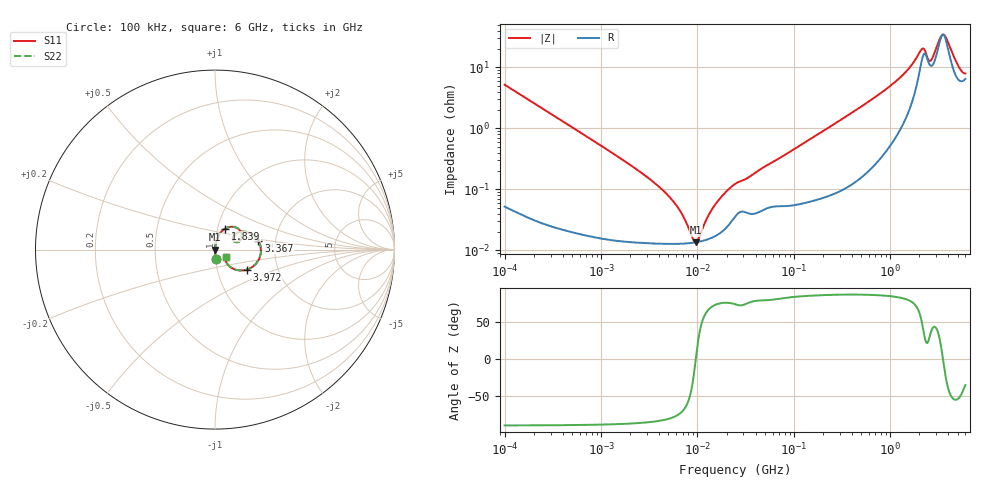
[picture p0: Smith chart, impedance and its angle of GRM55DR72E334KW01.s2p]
!Murata Part Number: GRM55DR72E334KW01
!These Parameters are Measured in Series Mode Connection
!Data Generated on Mar 30, 2021
!  o--ll--o
!Port1  Port2
!  o------o
!Operation Temp=25[degC], DC Bias Voltage=0[V]
!Freq. Start=100[kHz] Stop=6[GHz] 401[Steps]
# Hz S RI R 50
!Freq.(Hz) S11(Real) S11(Imag) S21(Real) S21(Imag) S12(Real) S12(Imag) S22(Real) S22(Imag)
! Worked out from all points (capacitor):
!   401 points, 100 kHz to 6 GHz, reference 50 ohm
!   read as one part in series: C = 306 nF near 105.7 kHz
!   lowest |Z| = 13.6 mohm at 9.615 MHz (marker M1)
!   series resonance near 9.614 MHz, so ESL is about 890 pH
!   S11 on the Smith chart (normalised r, x): 100 kHz: 1.00, -0.10; 1.839 GHz: 1.09, +0.26; 3.367 GHz: 1.63, +0.17; 3.972 GHz: 1.39, -0.32; 6 GHz: 1.13, -0.09
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100000  0.0032 -0.0516  0.9968 0.0516  0.9968 0.0516  0.0032 -0.0516
631452  0.000249 -0.00825  0.9998 0.00825  0.9998 0.00825  0.000249 -0.00825
3987316  0.00013 -0.0011  0.9999 0.0011  0.9999 0.0011  0.00013 -0.0011
6364321  0.000128 -0.000469  0.9999 0.000469  0.9999 0.000469  0.000128 -0.000469
8853126  0.000133 -9.16e-05  0.9999 9.16e-05  0.9999 9.16e-05  0.000133 -9.16e-05
9614634  0.000136 1e-07  0.9999 -1e-07  0.9999 -1e-07  0.000136 1e-07
1.015836e7  0.000138 6.13e-05  0.9999 -6.13e-05  0.9999 -6.13e-05  0.000138 6.13e-05
1.265862e7  0.000151 0.000311  0.9998 -0.000311  0.9998 -0.000311  0.000151 0.000311
1.492997e7  0.000169 0.000509  0.9998 -0.000509  0.9998 -0.000509  0.000169 0.000509
2.517799e7  0.000376 0.0012  0.9996 -0.0012  0.9996 -0.0012  0.000376 0.0012
1.546735e8  0.000689 0.00693  0.9993 -0.00693  0.9993 -0.00693  0.000689 0.00693
9.76689e8  0.00719 0.0474  0.9928 -0.0474  0.9928 -0.0474  0.00719 0.0474
1.396517e9  0.0186 0.0758  0.9814 -0.0758  0.9814 -0.0758  0.0186 0.0758
1.838654e9  0.0574 0.1175  0.9426 -0.1175  0.9426 -0.1175  0.0574 0.1175
2.168564e9  0.1429 0.1027  0.8571 -0.1027  0.8571 -0.1027  0.1429 0.1027
2.628996e9  0.0993 0.0607  0.9007 -0.0607  0.9007 -0.0607  0.0993 0.0607
3.016594e9  0.1518 0.1003  0.8482 -0.1003  0.8482 -0.1003  0.1518 0.1003
3.367428e9  0.242 0.0496  0.758 -0.0496  0.758 -0.0496  0.242 0.0496
3.65708e9  0.2461 -0.0525  0.7539 0.0525  0.7539 0.0525  0.2461 -0.0525
3.971646e9  0.1794 -0.1112  0.8206 0.1112  0.8206 0.1112  0.1794 -0.1112
5.229069e9  0.0614 -0.0666  0.9386 0.0666  0.9386 0.0666  0.0614 -0.0666
6e9  0.0625 -0.0403  0.9375 0.0403  0.9375 0.0403  0.0625 -0.0403
